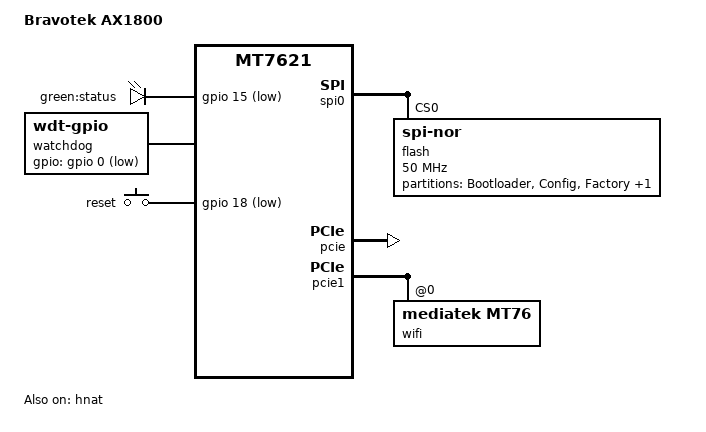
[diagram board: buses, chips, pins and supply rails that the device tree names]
// SPDX-License-Identifier: GPL-2.0-or-later OR MIT

#include "mt7621.dtsi"

#include <dt-bindings/gpio/gpio.h>
#include <dt-bindings/input/input.h>

/ {
	compatible = "bravotek,ax1800", "mediatek,mt7621-soc";
	model = "Bravotek AX1800";

	aliases {
		led-boot = &led_status_green;
		led-failsafe = &led_status_green;
		led-running = &led_status_green;
		led-upgrade = &led_status_green;
	};

	chosen {
		bootargs = "console=ttyS0,115200";
	};

	leds {
		compatible = "gpio-leds";

		led_status_green: status_green {
			label = "green:status";
			gpios = <&gpio 15 GPIO_ACTIVE_LOW>;
		};
	};

	watchdog {
		compatible = "linux,wdt-gpio";
		gpios = <&gpio 0 GPIO_ACTIVE_LOW>;
		hw_algo = "toggle";
		hw_margin_ms = <200>;
		always-running;
	};

	keys {
		compatible = "gpio-keys";

		reset {
			label = "reset";
			gpios = <&gpio 18 GPIO_ACTIVE_LOW>;
			linux,code = <KEY_RESTART>;
		};
	};
};

&spi0 {
	status = "okay";

	flash@0 {
		compatible = "jedec,spi-nor";
		reg = <0>;
		spi-max-frequency = <50000000>;

		partitions {
			compatible = "fixed-partitions";
			#address-cells = <1>;
			#size-cells = <1>;

			partition@0 {
				label = "Bootloader";
				reg = <0x0 0x30000>;
				read-only;
			};

			partition@30000 {
				label = "Config";
				reg = <0x30000 0x10000>;
				read-only;
			};

			/* range 0x40000 to 0x50000 is empty in vendor
			 * firmware, so we do not use it either
			 */

			factory: partition@50000 {
				label = "Factory";
				reg = <0x50000 0x40000>;
				read-only;
			};

			partition@90000 {
				compatible = "denx,uimage";
				label = "firmware";
				reg = <0x90000 0xf70000>;
			};
		};
	};
};

&pcie {
	status = "okay";
};

&pcie1 {
	wifi@0,0 {
		compatible = "mediatek,mt76";
		reg = <0x0000 0 0 0 0>;
		mediatek,mtd-eeprom = <&factory 0x0>;
	};
};

&gmac0 {
	nvmem-cells = <&macaddr_factory_e000>;
	nvmem-cell-names = "mac-address";
};

&gmac1 {
	nvmem-cells = <&macaddr_factory_e000>;
	nvmem-cell-names = "mac-address";
	mac-address-increment = <1>;
};

&gsw {
	mediatek,mdio = <&mdio>;
	mediatek,portmap = "wllll";
	mediatek,mcm;
	mt7530,direct-phy-access;

	resets = <&rstctrl 2>;
	reset-names = "mcm";

	port5: port@5 {
		compatible = "mediatek,mt753x-port";
		reg = <5>;
		phy-mode = "rgmii";
		fixed-link {
			speed = <1000>;
			full-duplex;
		};
	};

	port6: port@6 {
		compatible = "mediatek,mt753x-port";
		reg = <6>;
		phy-mode = "rgmii";
		fixed-link {
			speed = <1000>;
			full-duplex;
		};
	};

	mdio-bus {
		#address-cells = <1>;
		#size-cells = <0>;
	};
};

&switch0 {
	/* must delete compatible property */
	/delete-property/ compatible;
};

&hnat {
        mtketh-wan = "eth1";
        mtketh-ppd = "eth0";
        mtketh-lan = "eth0";
	ext-devices = "wlan0", "wlan1", "rax0", "ra0", "rai0", "apclii0", "apclix0", "apcli0";
        mtketh-max-gmac = <2>;
        status = "okay";
};

&state_default {
	gpio {
		groups = "jtag", "wdt";
		function = "gpio";
	};
};

&factory {
	compatible = "nvmem-cells";
	#address-cells = <1>;
	#size-cells = <1>;

	macaddr_factory_e000: macaddr@e000 {
		reg = <0xe000 0x6>;
	};
};
